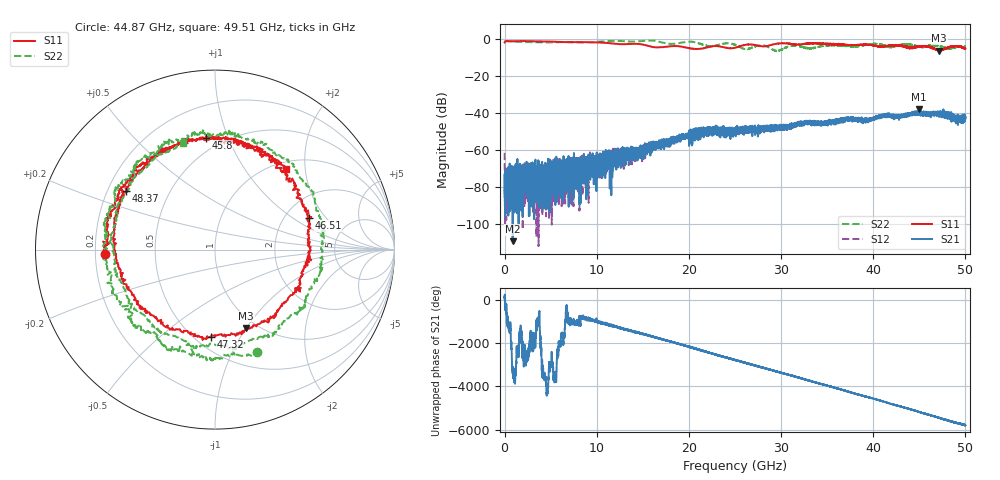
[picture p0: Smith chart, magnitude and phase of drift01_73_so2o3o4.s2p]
!Created with skrf (http://scikit-rf.org).
# Hz S RI R 50.0
!freq ReS11 ImS11 ReS21 ImS21 ReS12 ImS12 ReS22 ImS22
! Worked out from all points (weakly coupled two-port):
!   10001 points, 300 kHz to 50 GHz, reference 50 ohm
!   highest |S21| = -38.17 dB at 44.96 GHz (marker M1); lowest = -109.5 dB at 880.3 MHz (marker M2)
!   lowest |S11| = -6.6 dB at 47.15 GHz (marker M3), VSWR 2.78, Z = 44.6 - j50.1 ohm
!   |S11| at or under -10 dB: nowhere
!   |S22| runs from -6.8 to -1.0 dB; largest |S21 - S12| = 0.0046
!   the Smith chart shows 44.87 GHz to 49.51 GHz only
!   S11 on the Smith chart (normalised r, x): 44.87 GHz: 0.24, -0.02; 45.8 GHz: 0.41, +0.83; 46.51 GHz: 2.68, +1.36; 47.32 GHz: 0.59, -0.76; 48.37 GHz: 0.28, +0.28; 49.51 GHz: 1.13, +1.58
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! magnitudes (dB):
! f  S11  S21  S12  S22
! 300 kHz  -2.1  -85.5  -61.7  -1.3
! 260.3 MHz  -1.4  -79.5  -76.5  -1.4
! 880.3 MHz  -1.5  -109.5  -77.8  -1.5
! 4.115 GHz  -1.6  -72.5  -77.7  -2.1
! 8.335 GHz  -1.9  -66.6  -68.2  -2.1
! 16.67 GHz  -4.8  -56.7  -56.7  -1.6
! 21.53 GHz  -5.3  -50.8  -48.6  -3.3
! 25 GHz  -5.0  -48.8  -50.8  -3.4
! 28.07 GHz  -4.2  -48.7  -48.5  -3.9
! 29.55 GHz  -2.8  -47.9  -47.2  -6.7
! 31.27 GHz  -3.0  -48.2  -47.8  -4.0
! 33.34 GHz  -2.5  -45.4  -45.5  -5.3
! 41.67 GHz  -3.9  -41.1  -41.9  -4.5
! 44.87 GHz  -4.3  -40.0  -39.9  -4.2
! 44.96 GHz  -4.4  -38.2  -40.6  -4.4
! 45.8 GHz  -4.1  -40.0  -40.6  -4.2
! 46.51 GHz  -5.2  -39.8  -40.0  -3.7
! 47.15 GHz  -6.6  -39.7  -39.9  -4.1
! 47.32 GHz  -6.2  -40.1  -41.0  -4.2
! 48.37 GHz  -4.6  -41.7  -41.2  -5.2
! 49.51 GHz  -4.5  -42.1  -42.5  -4.2
! 50 GHz  -5.5  -42.6  -43.4  -4.2
